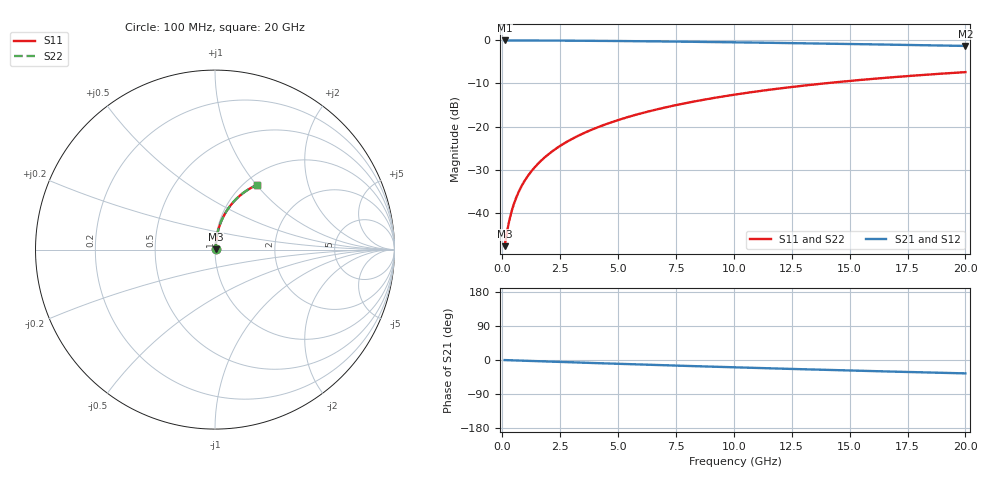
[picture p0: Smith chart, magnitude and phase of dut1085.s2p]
! Touchstone file exported from HFSS 2024.1.0
!  File:  C:/UserFiles/LocalFiles/RDL_TSV_Batchsim/temp_RDL_bottom_1085_1780053392.aedt
!  Generated:  07:18:55 PM May 29, 2026
!  Design:  RDL_bottom
!  Project:  temp_RDL_bottom_1085_1780053392
!  Setup:  Setup1
!  Solution:  Sweep
! Variables:
!  dtsv = 10.80580581um
!  hbump = 3um
!  htsv = 69.22um
!  ldown = 409.2um
!  lrdl = 100um
!  p = 40
!  p1 = 56.77um
!  rhole = 1um
!  t = 450um
!  tdown = 3.59um
!  trdl = 3.915915916um
!  wdown = 12.7um
!  wrdl = 20um
# GHz S MA R 50.000000
! Terminal data exported
! Port[1] = RDL1_T1
! Port[2] = RDL1_T2
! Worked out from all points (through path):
!   200 points, 100 MHz to 20 GHz, reference 50 ohm
!   highest |S21| = -0.03 dB at 100 MHz (marker M1); lowest = -1.3 dB at 20 GHz (marker M2)
!   group delay of S21, straight-line fit = 4.9 ps
!   lowest |S11| = -47.7 dB at 100 MHz (marker M3), VSWR 1.01, Z = 50.3 + j0.248 ohm
!   |S11| at or under -10 dB: start of sweep to 13.89 GHz
!   |S22| runs from -47.7 to -7.4 dB; largest |S21 - S12| = 2e-15
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0.1  0.004103 36.8  0.9967 -0.2  0.9967 -0.2  0.004103 36.8
! Gamma 0 0 0 0
! Port Impedance 50 0 50 0
0.2  0.005937 55.7  0.9967 -0.4  0.9967 -0.4  0.005937 55.7
0.3  0.008092 64.9  0.9966 -0.6  0.9966 -0.6  0.008092 64.9
0.4  0.01035 70.0  0.9965 -0.8  0.9965 -0.8  0.01035 70.0
0.5  0.01265 73.2  0.9964 -1.0  0.9964 -1.0  0.01265 73.2
0.6  0.01497 75.4  0.9962 -1.2  0.9962 -1.2  0.01497 75.4
0.8  0.01963 78.1  0.996 -1.6  0.996 -1.6  0.01963 78.2
1.1  0.02666 80.3  0.9956 -2.3  0.9956 -2.3  0.02666 80.3
1.5  0.03608 81.7  0.9949 -3.1  0.9949 -3.1  0.03608 81.7
1.8  0.04316 82.2  0.9943 -3.7  0.9943 -3.7  0.04316 82.2
2.1  0.05026 82.4  0.9936 -4.3  0.9936 -4.3  0.05026 82.4
2.7  0.06447 82.4  0.9919 -5.5  0.9919 -5.5  0.06447 82.4
3.5  0.08343 81.8  0.989 -7.1  0.989 -7.1  0.08344 81.8
4.2  0.1 81.1  0.986 -8.5  0.986 -8.5  0.1 81.1
5  0.1189 80.1  0.9821 -10.0  0.9821 -10.0  0.1189 80.2
5.9  0.1401 78.9  0.9771 -11.8  0.9771 -11.8  0.1401 78.9
6.8  0.1611 77.6  0.9716 -13.5  0.9716 -13.5  0.1611 77.6
8.3  0.1956 75.3  0.9615 -16.2  0.9615 -16.2  0.1956 75.3
10.1  0.2361 72.5  0.9481 -19.5  0.9481 -19.5  0.2361 72.5
13.4  0.3063 67.2  0.9209 -25.1  0.9209 -25.1  0.3063 67.2
16.7  0.3705 62.0  0.8916 -30.4  0.8916 -30.4  0.3705 62.1
20  0.4279 57.1  0.8613 -35.3  0.8613 -35.3  0.428 57.2
